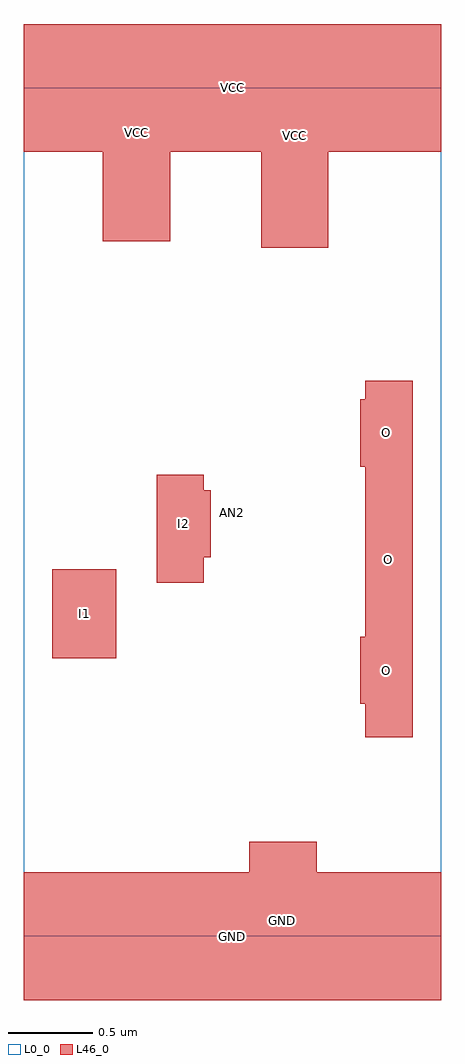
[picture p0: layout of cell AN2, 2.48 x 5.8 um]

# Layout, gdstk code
import gdstk
lib = gdstk.Library(unit=1e-6, precision=1e-09)
def R(c, l, rs):  # rectangles x0, y0, x1, y1
    for r in rs: c.add(gdstk.rectangle(r[:2], r[2:], *l))
L0_0 = (0, 0)
L46_0 = (46, 0)

an2 = lib.new_cell('AN2')
R(an2, L0_0, [(0,0,2.48,5.04)])
R(an2, L46_0, [(0,-0.38,2.48,0.38), (1.34,-0.38,1.74,0.56), (2.03,1.18,2.31,3.3), (2,1.38,2.31,1.78), (0.17,1.65,0.55,2.18), (0.79,2.1,1.07,2.74), (0.79,2.25,1.11,2.65), (2,2.79,2.31,3.19), (1.41,4.09,1.81,5.42), (0.47,4.13,0.87,5.42), (0,4.66,2.48,5.42)])
an2.add(gdstk.Label('AN2', (1.24,2.52), layer=0, texttype=0))
an2.add(gdstk.Label('O', (2.155,2.99), layer=101, texttype=0))
an2.add(gdstk.Label('O', (2.17,2.24), layer=101, texttype=0))
an2.add(gdstk.Label('O', (2.155,1.58), layer=101, texttype=0))
an2.add(gdstk.Label('I2', (0.95,2.45), layer=101, texttype=0))
an2.add(gdstk.Label('I2', (0.93,2.42), layer=101, texttype=0))
an2.add(gdstk.Label('I1', (0.36,1.915), layer=101, texttype=0))
an2.add(gdstk.Label('GND', (1.24,0), layer=101, texttype=0))
an2.add(gdstk.Label('GND', (1.54,0.09), layer=101, texttype=0))
an2.add(gdstk.Label('VCC', (1.61,4.755), layer=101, texttype=0))
an2.add(gdstk.Label('VCC', (1.24,5.04), layer=101, texttype=0))
an2.add(gdstk.Label('VCC', (0.67,4.775), layer=101, texttype=0))

lib.write_gds('AN2.gds')
